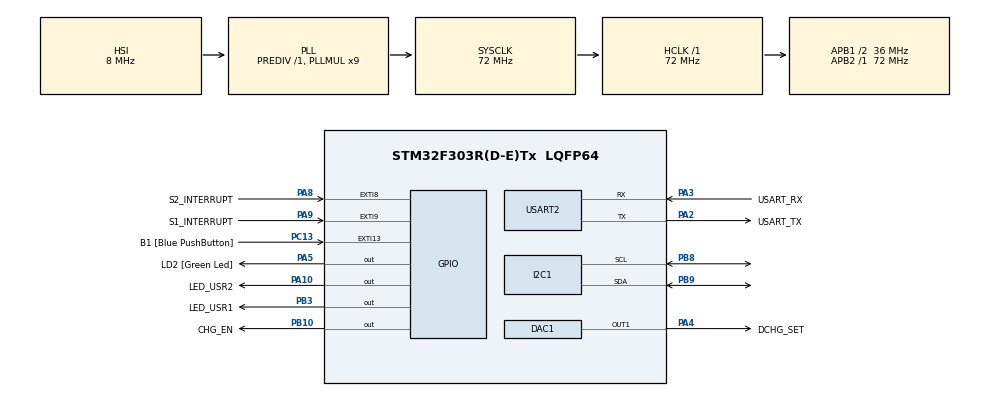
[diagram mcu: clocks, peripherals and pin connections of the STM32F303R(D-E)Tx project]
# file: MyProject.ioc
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Mcu.Family=STM32F3
PA2.GPIO_PuPd=GPIO_NOPULL
RCC.CortexFreq_Value=72000000
NVIC.TIM6_DAC_IRQn=true\:0\:0\:false\:false\:true\:true\:true
PA14.GPIO_Label=TCK
RCC.SYSCLKSourceVirtual=RCC_SYSCLKSOURCE_PLLCLK
PA3.GPIO_PuPd=GPIO_NOPULL
PA2.GPIO_Speed=GPIO_SPEED_FREQ_LOW
PC13.GPIO_Label=B1 [Blue PushButton]
PA3.GPIO_Speed=GPIO_SPEED_FREQ_LOW
ProjectManager.StackSize=0x400
VP_TIM7_VS_ClockSourceINT.Mode=Enable_Timer
RCC.HCLKFreq_Value=72000000
RCC.APB2TimFreq_Value=72000000
TIM7.Period=2000
RCC.AHBFreq_Value=72000000
RCC.HSE_VALUE=8000000
USART2.VirtualMode-Asynchronous=VM_ASYNC
RCC.RCC_PLLsource_Clock_Source_FROM_HSE=RCC_HSE_PREDIV_DIV2
RCC.PLLMUL=RCC_PLL_MUL9
PC14-OSC32_IN.Mode=LSE-External-Oscillator
PA14.Mode=Serial_Wire
PA5.GPIO_PuPd=GPIO_NOPULL
PA10.GPIO_Label=LED_USR2
PA8.Signal=GPXTI8
TIM6.Period=2000
Mcu.Package=LQFP64
PB9.Signal=I2C1_SDA
PA8.GPIO_ModeDefaultEXTI=GPIO_MODE_IT_FALLING
PA2.GPIO_Label=USART_TX
PA10.Signal=GPIO_Output
TIM7.AutoReloadPreload=TIM_AUTORELOAD_PRELOAD_DISABLE
PB8.GPIO_PuPdOD=GPIO_NOPULL
RCC.APB1TimFreq_Value=72000000
PA4.GPIO_Label=DCHG_SET
NVIC.TIM7_IRQn=true\:0\:0\:false\:false\:true\:true\:true
PF1-OSC_OUT.Signal=RCC_OSC_OUT
PA3.Signal=USART2_RX
PA2.GPIO_Mode=GPIO_MODE_AF_PP
PB3.GPIO_Label=LED_USR1
PC15-OSC32_OUT.Mode=LSE-External-Oscillator
PC13.Signal=GPXTI13
PA9.GPIO_Label=S1_INTERRUPT
TIM6.Prescaler=36000
VP_TIM6_VS_ClockSourceINT.Mode=Enable_Timer
RCC.APB1CLKDivider=RCC_HCLK_DIV2
PC14-OSC32_IN.Signal=RCC_OSC32_IN
PA9.GPIO_PuPd=GPIO_PULLUP
PA3.Mode=Asynchronous
PA13.Signal=SYS_JTMS-SWDIO
TIM6.AutoReloadPreload=TIM_AUTORELOAD_PRELOAD_DISABLE
PA8.GPIO_Label=S2_INTERRUPT
ProjectManager.TargetToolchain=STM32CubeIDE
PB10.GPIO_Label=CHG_EN
PA3.GPIO_Mode=GPIO_MODE_AF_PP
SH.COMP_DAC11_group.0=DAC1_OUT1,DAC_OUT1
PB9.Mode=I2C
PA9.Signal=GPXTI9
RCC.USBFreq_Value=72000000
PC15-OSC32_OUT.Signal=RCC_OSC32_OUT
PF0-OSC_IN.Mode=HSE-External-Clock-Source
PB10.Signal=GPIO_Output
PA5.Signal=GPIO_Output
TIM7.Prescaler=36000
board=NUCLEO-F303RE
RCC.APB2Freq_Value=72000000
PA13.Mode=Serial_Wire
Mcu.Name=STM32F303R(D-E)Tx
PA2.Signal=USART2_TX
PA13.GPIO_Label=TMS
PB3.Signal=GPIO_Output
PA4.Signal=COMP_DAC11_group
RCC.SYSCLKFreq_VALUE=72000000
PA5.GPIO_Label=LD2 [Green Led]
PC13.GPIO_ModeDefaultEXTI=GPIO_MODE_IT_FALLING
NVIC.EXTI9_5_IRQn=true\:0\:0\:false\:false\:true\:true\:true
PA14.Signal=SYS_JTCK-SWCLK
ProjectManager.HeapSize=0x200
PB9.GPIO_PuPdOD=GPIO_NOPULL
RCC.HSI_VALUE=8000000
PA8.GPIO_PuPd=GPIO_PULLUP
RCC.PLLP=RCC_PLLP_DIV4
PA5.GPIO_Speed=GPIO_SPEED_FREQ_LOW
RCC.PLLQ=7
NVIC.PriorityGroup=NVIC_PRIORITYGROUP_0
RCC.PLLM=8
PB8.Mode=I2C
RCC.PLLN=336
PA9.GPIO_ModeDefaultEXTI=GPIO_MODE_IT_FALLING
PA2.Mode=Asynchronous
PB8.Signal=I2C1_SCL
PF0-OSC_IN.Signal=RCC_OSC_IN
RCC.APB1Freq_Value=36000000
PA5.GPIO_Mode=GPIO_MODE_OUTPUT_PP
PA3.GPIO_Label=USART_RX

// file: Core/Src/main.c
/* USER CODE BEGIN Header */
/**
  ******************************************************************************
  * @file           : main.c
  * @brief          : Main program body
  ******************************************************************************
  * @attention
  *
  * <h2><center>&copy; Copyright (c) 2021 STMicroelectronics.
  * All rights reserved.</center></h2>
  *
  * This software component is licensed by ST under BSD 3-Clause license,
  * the "License"; You may not use this file except in compliance with the
  * License. You may obtain a copy of the License at:
  *                        opensource.org/licenses/BSD-3-Clause
  *
  ******************************************************************************
  */
/* USER CODE END Header */
#include "main.h"

/* USER CODE BEGIN Includes */
#define __STDC_FORMAT_MACROS
#include <inttypes.h>
#include "oled.h"
#include "adc.h"
/* USER CODE END Includes */

DAC_HandleTypeDef hdac1;

I2C_HandleTypeDef hi2c1;

TIM_HandleTypeDef htim6;
TIM_HandleTypeDef htim7;

UART_HandleTypeDef huart2;

/* USER CODE BEGIN PV */
typedef enum {
	CHG_ENABLE = 1,
	CHG_DISABLE = 0
} CHG_EN;

typedef enum {
	IDLE = 0,
	CHG = 1,
	DCHG = 2
} STATE;

STATE currentState = IDLE;
uint8_t currentDchgPct = 0;
float lastReadBattV = 0;
float lastReadTemp=0;
float lastCurrent=0;

/* USER CODE END PV */

void SystemClock_Config(void);
static void MX_GPIO_Init(void);
static void MX_USART2_UART_Init(void);
static void MX_I2C1_Init(void);
static void MX_DAC1_Init(void);
static void MX_TIM6_Init(void);
static void MX_TIM7_Init(void);
/* USER CODE BEGIN PFP */
void Charging_Enable(CHG_EN chg_en);
void Change_State(STATE new_state);
void Discharging_Set(uint8_t pct);
void Safety_Loop();
/* USER CODE END PFP */

int main(void)
{

  /* MCU Configuration--------------------------------------------------------*/

  /* Reset of all peripherals, Initializes the Flash interface and the Systick. */
  HAL_Init();

  /* Configure the system clock */
  SystemClock_Config();

  /* Initialize all configured peripherals */
  MX_GPIO_Init();
  MX_USART2_UART_Init();
  MX_I2C1_Init();
  MX_DAC1_Init();
  MX_TIM6_Init();
  MX_TIM7_Init();
  /* USER CODE BEGIN 2 */

  //HAL_TIM_Base_Start_IT(&htim6);

  //İnitialize OLED DISPLAY
  ssd1306_Init();
  ssd1306_Fill(Black);
  ssd1306_SetCursor(30,0);
  ssd1306_WriteString("Li-ion BMS",Font_7x10,White);
  //ssd1306_UpdateScreen();

  //İnitialize ADC
  LTC2990_ConfigureControlReg(&hi2c1);

  //initialize timer7
  HAL_TIM_Base_Start_IT(&htim7);

  /* USER CODE END 2 */

  /* Infinite loop */
  while (1)
  {

    /* USER CODE BEGIN 3 */

	  //Trigger a new conversion
	  LTC2990_Trigger(&hi2c1);
	  LTC2990_WaitForConversion(&hi2c1,50);

	  //Quick Test -Read vcc

	  float voltageADCVcc=0;
	  LTC2990_ReadVoltage(&hi2c1, VCC, &voltageADCVcc);

	  //current reading
	  float current=0;
	  float battV=0;
	  float battV_2=0;
	  LTC2990_ReadVoltage(&hi2c1, BATTV, &battV);
	  LTC2990_ReadVoltage(&hi2c1, BATTV_2, &battV_2);

	  LTC2990_ReadCurrent(&hi2c1, battV, battV_2, &current);

	  //temp reading
	  	  float temp=0;
	  	  LTC2990_ReadTemperature(&hi2c1, &temp);

	  	  char tempString[10];
	  	  sprintf(tempString, "%.3f C" ,temp);
	  	  ssd1306_SetCursor(2,40);
	  	  ssd1306_WriteString("Temp   ",Font_7x10,White);
	  	  ssd1306_SetCursor(43,40);
	  	  ssd1306_WriteString(tempString,Font_7x10,White);

	  //display adc on oled
	  char voltageADCVccString[10];
	  sprintf(voltageADCVccString, "%.3f  V" ,voltageADCVcc);
	  ssd1306_SetCursor(2,10);
	  ssd1306_WriteString("Vcc   ",Font_7x10,White);
	  ssd1306_SetCursor(43,10);
	  ssd1306_WriteString(voltageADCVccString,Font_7x10,White);

	//show current on oled
	   char currentString[10];
	   sprintf(currentString, "%.3f mA" ,current);
	   ssd1306_SetCursor(2,20);
	   ssd1306_WriteString("Cur   ",Font_7x10,White);
	   ssd1306_SetCursor(43,20);
	   ssd1306_WriteString(currentString,Font_7x10,White);

	//battery voltage
	   char battVString[10];
	   sprintf(battVString, "%.3f  V" ,battV);
	   ssd1306_SetCursor(2,30);
	   ssd1306_WriteString("BattV   ",Font_7x10,White);
	   ssd1306_SetCursor(43,30);
	   ssd1306_WriteString(battVString,Font_7x10,White);

	   //SoC estimation

	   char socString[10];
	   sprintf(socString, "%.1f %" ,(battV/3.7)*100);
	  	   ssd1306_SetCursor(2,50);
	  	   ssd1306_WriteString("SoC   ",Font_7x10,White);
	  	   ssd1306_SetCursor(43,50);
	  	   ssd1306_WriteString(socString,Font_7x10,White);

	   //update last battV to safety
	   lastReadBattV =battV;
	   //update last temp to safety
	   lastReadTemp=temp;
	   //update last current to to safety
	   lastCurrent=current;

	   ssd1306_UpdateScreen();

	   HAL_Delay(1000); //update rate
  }
  /* USER CODE END 3 */
}

void SystemClock_Config(void)
{
  RCC_OscInitTypeDef RCC_OscInitStruct = {0};
  RCC_ClkInitTypeDef RCC_ClkInitStruct = {0};
  RCC_PeriphCLKInitTypeDef PeriphClkInit = {0};

  /** Initializes the RCC Oscillators according to the specified parameters
  * in the RCC_OscInitTypeDef structure.
  */
  RCC_OscInitStruct.OscillatorType = RCC_OSCILLATORTYPE_HSI;
  RCC_OscInitStruct.HSIState = RCC_HSI_ON;
  RCC_OscInitStruct.HSICalibrationValue = RCC_HSICALIBRATION_DEFAULT;
  RCC_OscInitStruct.PLL.PLLState = RCC_PLL_ON;
  RCC_OscInitStruct.PLL.PLLSource = RCC_PLLSOURCE_HSI;
  RCC_OscInitStruct.PLL.PLLMUL = RCC_PLL_MUL9;
  RCC_OscInitStruct.PLL.PREDIV = RCC_PREDIV_DIV1;
  if (HAL_RCC_OscConfig(&RCC_OscInitStruct) != HAL_OK)
  {
    Error_Handler();
  }
  /** Initializes the CPU, AHB and APB buses clocks
  */
  RCC_ClkInitStruct.ClockType = RCC_CLOCKTYPE_HCLK|RCC_CLOCKTYPE_SYSCLK
                              |RCC_CLOCKTYPE_PCLK1|RCC_CLOCKTYPE_PCLK2;
  RCC_ClkInitStruct.SYSCLKSource = RCC_SYSCLKSOURCE_PLLCLK;
  RCC_ClkInitStruct.AHBCLKDivider = RCC_SYSCLK_DIV1;
  RCC_ClkInitStruct.APB1CLKDivider = RCC_HCLK_DIV2;
  RCC_ClkInitStruct.APB2CLKDivider = RCC_HCLK_DIV1;

  if (HAL_RCC_ClockConfig(&RCC_ClkInitStruct, FLASH_LATENCY_2) != HAL_OK)
  {
    Error_Handler();
  }
  PeriphClkInit.PeriphClockSelection = RCC_PERIPHCLK_USART2|RCC_PERIPHCLK_I2C1;
  PeriphClkInit.Usart2ClockSelection = RCC_USART2CLKSOURCE_PCLK1;
  PeriphClkInit.I2c1ClockSelection = RCC_I2C1CLKSOURCE_HSI;
  if (HAL_RCCEx_PeriphCLKConfig(&PeriphClkInit) != HAL_OK)
  {
    Error_Handler();
  }
}

static void MX_DAC1_Init(void)
{

  DAC_ChannelConfTypeDef sConfig = {0};

  /** DAC Initialization
  */
  hdac1.Instance = DAC1;
  if (HAL_DAC_Init(&hdac1) != HAL_OK)
  {
    Error_Handler();
  }
  /** DAC channel OUT1 config
  */
  sConfig.DAC_Trigger = DAC_TRIGGER_NONE;
  sConfig.DAC_OutputBuffer = DAC_OUTPUTBUFFER_ENABLE;
  if (HAL_DAC_ConfigChannel(&hdac1, &sConfig, DAC_CHANNEL_1) != HAL_OK)
  {
    Error_Handler();
  }

}

static void MX_I2C1_Init(void)
{

  hi2c1.Instance = I2C1;
  hi2c1.Init.Timing = 0x2000090E;
  hi2c1.Init.OwnAddress1 = 0;
  hi2c1.Init.AddressingMode = I2C_ADDRESSINGMODE_7BIT;
  hi2c1.Init.DualAddressMode = I2C_DUALADDRESS_DISABLE;
  hi2c1.Init.OwnAddress2 = 0;
  hi2c1.Init.OwnAddress2Masks = I2C_OA2_NOMASK;
  hi2c1.Init.GeneralCallMode = I2C_GENERALCALL_DISABLE;
  hi2c1.Init.NoStretchMode = I2C_NOSTRETCH_DISABLE;
  if (HAL_I2C_Init(&hi2c1) != HAL_OK)
  {
    Error_Handler();
  }
  /** Configure Analogue filter
  */
  if (HAL_I2CEx_ConfigAnalogFilter(&hi2c1, I2C_ANALOGFILTER_ENABLE) != HAL_OK)
  {
    Error_Handler();
  }
  /** Configure Digital filter
  */
  if (HAL_I2CEx_ConfigDigitalFilter(&hi2c1, 0) != HAL_OK)
  {
    Error_Handler();
  }

}

static void MX_TIM6_Init(void)
{

  TIM_MasterConfigTypeDef sMasterConfig = {0};

  htim6.Instance = TIM6;
  htim6.Init.Prescaler = 36000;
  htim6.Init.CounterMode = TIM_COUNTERMODE_UP;
  htim6.Init.Period = 2000;
  htim6.Init.AutoReloadPreload = TIM_AUTORELOAD_PRELOAD_DISABLE;
  if (HAL_TIM_Base_Init(&htim6) != HAL_OK)
  {
    Error_Handler();
  }
  sMasterConfig.MasterOutputTrigger = TIM_TRGO_RESET;
  sMasterConfig.MasterSlaveMode = TIM_MASTERSLAVEMODE_DISABLE;
  if (HAL_TIMEx_MasterConfigSynchronization(&htim6, &sMasterConfig) != HAL_OK)
  {
    Error_Handler();
  }

}

static void MX_TIM7_Init(void)
{

  TIM_MasterConfigTypeDef sMasterConfig = {0};

  htim7.Instance = TIM7;
  htim7.Init.Prescaler = 36000;
  htim7.Init.CounterMode = TIM_COUNTERMODE_UP;
  htim7.Init.Period = 2000;
  htim7.Init.AutoReloadPreload = TIM_AUTORELOAD_PRELOAD_DISABLE;
  if (HAL_TIM_Base_Init(&htim7) != HAL_OK)
  {
    Error_Handler();
  }
  sMasterConfig.MasterOutputTrigger = TIM_TRGO_RESET;
  sMasterConfig.MasterSlaveMode = TIM_MASTERSLAVEMODE_DISABLE;
  if (HAL_TIMEx_MasterConfigSynchronization(&htim7, &sMasterConfig) != HAL_OK)
  {
    Error_Handler();
  }

}

static void MX_USART2_UART_Init(void)
{

  huart2.Instance = USART2;
  huart2.Init.BaudRate = 38400;
  huart2.Init.WordLength = UART_WORDLENGTH_8B;
  huart2.Init.StopBits = UART_STOPBITS_1;
  huart2.Init.Parity = UART_PARITY_NONE;
  huart2.Init.Mode = UART_MODE_TX_RX;
  huart2.Init.HwFlowCtl = UART_HWCONTROL_NONE;
  huart2.Init.OverSampling = UART_OVERSAMPLING_16;
  huart2.Init.OneBitSampling = UART_ONE_BIT_SAMPLE_DISABLE;
  huart2.AdvancedInit.AdvFeatureInit = UART_ADVFEATURE_NO_INIT;
  if (HAL_UART_Init(&huart2) != HAL_OK)
  {
    Error_Handler();
  }

}

static void MX_GPIO_Init(void)
{
  GPIO_InitTypeDef GPIO_InitStruct = {0};

  /* GPIO Ports Clock Enable */
  __HAL_RCC_GPIOC_CLK_ENABLE();
  __HAL_RCC_GPIOF_CLK_ENABLE();
  __HAL_RCC_GPIOA_CLK_ENABLE();
  __HAL_RCC_GPIOB_CLK_ENABLE();

  /*Configure GPIO pin Output Level */
  HAL_GPIO_WritePin(GPIOA, LD2_Pin|LED_USR2_Pin, GPIO_PIN_RESET);

  /*Configure GPIO pin Output Level */
  HAL_GPIO_WritePin(GPIOB, CHG_EN_Pin|LED_USR1_Pin, GPIO_PIN_RESET);

  /*Configure GPIO pin : B1_Pin */
  GPIO_InitStruct.Pin = B1_Pin;
  GPIO_InitStruct.Mode = GPIO_MODE_IT_FALLING;
  GPIO_InitStruct.Pull = GPIO_NOPULL;
  HAL_GPIO_Init(B1_GPIO_Port, &GPIO_InitStruct);

  /*Configure GPIO pins : LD2_Pin LED_USR2_Pin */
  GPIO_InitStruct.Pin = LD2_Pin|LED_USR2_Pin;
  GPIO_InitStruct.Mode = GPIO_MODE_OUTPUT_PP;
  GPIO_InitStruct.Pull = GPIO_NOPULL;
  GPIO_InitStruct.Speed = GPIO_SPEED_FREQ_LOW;
  HAL_GPIO_Init(GPIOA, &GPIO_InitStruct);

  /*Configure GPIO pins : CHG_EN_Pin LED_USR1_Pin */
  GPIO_InitStruct.Pin = CHG_EN_Pin|LED_USR1_Pin;
  GPIO_InitStruct.Mode = GPIO_MODE_OUTPUT_PP;
  GPIO_InitStruct.Pull = GPIO_NOPULL;
  GPIO_InitStruct.Speed = GPIO_SPEED_FREQ_LOW;
  HAL_GPIO_Init(GPIOB, &GPIO_InitStruct);

  /*Configure GPIO pins : S2_INTERRUPT_Pin S1_INTERRUPT_Pin */
  GPIO_InitStruct.Pin = S2_INTERRUPT_Pin|S1_INTERRUPT_Pin;
  GPIO_InitStruct.Mode = GPIO_MODE_IT_FALLING;
  GPIO_InitStruct.Pull = GPIO_PULLUP;
  HAL_GPIO_Init(GPIOA, &GPIO_InitStruct);

  /* EXTI interrupt init*/
  HAL_NVIC_SetPriority(EXTI9_5_IRQn, 0, 0);
  HAL_NVIC_EnableIRQ(EXTI9_5_IRQn);

}

/* USER CODE BEGIN 4 */
void HAL_TIM_PeriodElapsedCallback(TIM_HandleTypeDef *htim)
{
	if(htim==&htim6)
	{
		HAL_GPIO_TogglePin(LED_USR1_GPIO_Port, LED_USR1_Pin); //toggle the led1 every 0.5 second

		//if both button pressed change the mode
		if(HAL_GPIO_ReadPin(GPIOA, S1_INTERRUPT_Pin) == GPIO_PIN_RESET && HAL_GPIO_ReadPin(GPIOA, S2_INTERRUPT_Pin) == GPIO_PIN_RESET)
		{
			//change mode
			if(currentState == IDLE)
			{
				Change_State(CHG);

			}
			else if(currentState == CHG)
			{
				Change_State(DCHG);
			}
			else if(currentState==DCHG)
			{
				Change_State(IDLE);
			}

			else
			{
				Change_State(IDLE);
			}

		}

		//if one of the switch is pressed change discharge current
		else if(currentState == DCHG && HAL_GPIO_ReadPin(GPIOA, S1_INTERRUPT_Pin) == GPIO_PIN_RESET)
		{
			//increase discharge current
			uint8_t newDchgPct = currentDchgPct +10;
			Discharging_Set(newDchgPct);
		}
		else if(currentState == DCHG && HAL_GPIO_ReadPin(GPIOA, S2_INTERRUPT_Pin) == GPIO_PIN_RESET)
		{
			//decrease discharge current
			uint8_t newDchgPct = currentDchgPct -10;
			Discharging_Set(newDchgPct);
		}

		HAL_TIM_Base_Stop_IT(&htim6);
	}
	else if(htim==&htim7)
	{
		Safety_Loop();
	}

}
void  HAL_GPIO_EXTI_Callback(uint16_t GPIO_Pin)
{
	 if(GPIO_Pin == S2_INTERRUPT_Pin || GPIO_Pin == S1_INTERRUPT_Pin)
	 {
		 //Enable charging

		 //
		 HAL_TIM_Base_Start_IT(&htim6);
	 }
}

//Where PCT should be 0 - 100
void Discharging_Set(uint8_t pct) {
	if (pct < 0) {
		pct = 0;
	} else if (pct > 100) {
		pct = 100;
	}
	//DAC is 12 bit resolution - 0 - 4095 data codes which translates to 0 - 3.3V analog

	uint32_t dacCode = (uint32_t) ((pct / 100.0) * 4095.0);
	HAL_DAC_SetValue(&hdac1, DAC_CHANNEL_1, DAC_ALIGN_12B_R, dacCode);

	currentDchgPct = pct;

	//Start DAC
	HAL_DAC_Start(&hdac1, DAC_CHANNEL_1);
}

void Charging_Enable(CHG_EN chg_en)
{
	if (chg_en == CHG_ENABLE)
	{
		HAL_GPIO_WritePin(GPIOB, CHG_EN_Pin, GPIO_PIN_SET);
	}
	else //Disabling charging
	{
		HAL_GPIO_WritePin(GPIOB, CHG_EN_Pin, GPIO_PIN_RESET);
	}
}

void Change_State(STATE new_state) {

	currentState = new_state;

	//IDLE
	if (currentState == IDLE) {
		Charging_Enable(CHG_DISABLE);
		Discharging_Set(0); //Set discharge current to 0A
	}
	//CHARGING
	else if (currentState == CHG) {
		Charging_Enable(CHG_ENABLE);
		Discharging_Set(0); //Set discharge current to 0A
	}
	//DISCHARGING
	else if (currentState == DCHG) {
		Charging_Enable(CHG_DISABLE);
		Discharging_Set(10); //Set discharge current to 10%
	} else {
		//HANDLE DEFAULT CASE - MISRA C
	}
}
void Safety_Loop()
{
	//undervoltage
	if(lastReadBattV < 2.9)
	{
		//ssd1306_SetCursor(30,10);
		//ssd1306_WriteString("Under Voltage",Font_7x10,White);
		Change_State(IDLE);
	}
	//overvoltage
	else if(lastReadBattV > 5.5)
		{
			//ssd1306_SetCursor(30,10);
			//ssd1306_WriteString("Over Voltage",Font_7x10,White);
			Change_State(IDLE);

		}
	//overtemprature

	else if(lastReadTemp > 70.0)
	{
		//ssd1306_SetCursor(30,10);
		//ssd1306_WriteString("Over Temperature",Font_7x10,White);
		Change_State(IDLE);
	}

	//overcurrent
	else if(lastCurrent > 1625)
		{
			//ssd1306_SetCursor(30,10);
			//ssd1306_WriteString("Over Current",Font_7x10,White);
			Change_State(IDLE);
		}
}

/* USER CODE END 4 */

void Error_Handler(void)
{
  __disable_irq();
  while (1)
  {
  }
}

/************************ (C) COPYRIGHT STMicroelectronics *****END OF FILE****/
